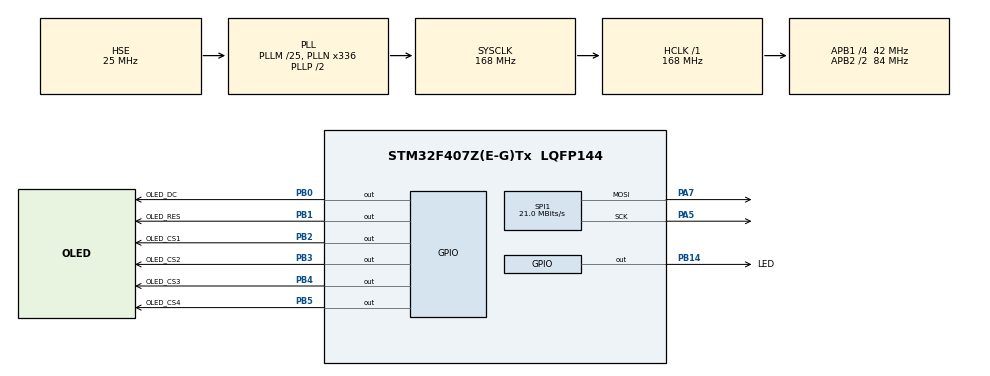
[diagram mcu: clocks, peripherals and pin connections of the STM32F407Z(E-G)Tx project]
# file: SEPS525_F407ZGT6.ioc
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Mcu.Family=STM32F4
Mcu.Name=STM32F407Z(E-G)Tx
Mcu.Package=LQFP144
NVIC.PriorityGroup=NVIC_PRIORITYGROUP_4
PA13.Mode=Serial_Wire
PA13.Signal=SYS_JTMS-SWDIO
PA14.Mode=Serial_Wire
PA14.Signal=SYS_JTCK-SWCLK
PA5.Mode=TX_Only_Simplex_Unidirect_Master
PA5.Signal=SPI1_SCK
PA7.Mode=TX_Only_Simplex_Unidirect_Master
PA7.Signal=SPI1_MOSI
PB0.GPIO_Label=OLED_DC
PB0.Signal=GPIO_Output
PB1.GPIO_Label=OLED_RES
PB1.Signal=GPIO_Output
PB14.GPIO_Label=LED
PB14.Signal=GPIO_Output
PB2.GPIO_Label=OLED_CS1
PB2.Signal=GPIO_Output
PB3.GPIO_Label=OLED_CS2
PB3.Signal=GPIO_Output
PB4.GPIO_Label=OLED_CS3
PB4.Signal=GPIO_Output
PB5.GPIO_Label=OLED_CS4
PB5.Signal=GPIO_Output
PH0-OSC_IN.Mode=HSE-External-Oscillator
PH0-OSC_IN.Signal=RCC_OSC_IN
PH1-OSC_OUT.Mode=HSE-External-Oscillator
PH1-OSC_OUT.Signal=RCC_OSC_OUT
ProjectManager.HeapSize=0x200
ProjectManager.StackSize=0x400
ProjectManager.TargetToolchain=MDK-ARM V5.32
RCC.48MHZClocksFreq_Value=84000000
RCC.AHBFreq_Value=168000000
RCC.APB1CLKDivider=RCC_HCLK_DIV4
RCC.APB1Freq_Value=42000000
RCC.APB1TimFreq_Value=84000000
RCC.APB2CLKDivider=RCC_HCLK_DIV2
RCC.APB2Freq_Value=84000000
RCC.APB2TimFreq_Value=168000000
RCC.CortexFreq_Value=168000000
RCC.HCLKFreq_Value=168000000
RCC.HSE_VALUE=25000000
RCC.HSI_VALUE=16000000
RCC.LSE_VALUE=32768
RCC.PLLM=25
RCC.PLLN=336
RCC.PLLSourceVirtual=RCC_PLLSOURCE_HSE
RCC.SYSCLKFreq_VALUE=168000000
RCC.SYSCLKSource=RCC_SYSCLKSOURCE_PLLCLK
RCC.VCOOutputFreq_Value=336000000
SPI1.BaudRatePrescaler=SPI_BAUDRATEPRESCALER_4
SPI1.CLKPhase=SPI_PHASE_2EDGE
SPI1.CLKPolarity=SPI_POLARITY_HIGH
SPI1.CalculateBaudRate=21.0 MBits/s
SPI1.DataSize=SPI_DATASIZE_8BIT
SPI1.Direction=SPI_DIRECTION_2LINES
SPI1.FirstBit=SPI_FIRSTBIT_MSB
SPI1.Mode=SPI_MODE_MASTER
SPI1.VirtualType=VM_MASTER
board=custom

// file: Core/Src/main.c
/* USER CODE BEGIN Header */
/**
  ******************************************************************************
  * @file           : main.c
  * @brief          : Main program body
  ******************************************************************************
  * @attention
  *
  * Copyright (c) 2024 STMicroelectronics.
  * All rights reserved.
  *
  * This software is licensed under terms that can be found in the LICENSE file
  * in the root directory of this software component.
  * If no LICENSE file comes with this software, it is provided AS-IS.
  *
  ******************************************************************************
  */
/* USER CODE END Header */
#include "main.h"
#include "spi.h"
#include "gpio.h"

/* USER CODE BEGIN PTD */
// extern unsigned char gImage_RGB_TEST;
// extern unsigned char gImage_QQ_TEST;
extern unsigned char gImage_HuangFeng;
/* USER CODE END PTD */

/* USER CODE BEGIN PV */
uint16_t i =0;
/* USER CODE END PV */

void SystemClock_Config(void);

int main(void)
{

  /* MCU Configuration--------------------------------------------------------*/

  /* Reset of all peripherals, Initializes the Flash interface and the Systick. */
  HAL_Init();

  /* Configure the system clock */
  SystemClock_Config();

  /* Initialize all configured peripherals */
  MX_GPIO_Init();
  MX_SPI1_Init();
  /* USER CODE BEGIN 2 */
//
	HAL_GPIO_WritePin(LED_GPIO_Port,LED_Pin,GPIO_PIN_SET);

  WHICH_CS = 0;
  OLED_Init();//OLED初始化

//	HAL_Delay(100);
//  WHICH_CS = 4;
//  OLED_Fill(0,0,OLED_W,OLED_H,BLUE);

//	OLED_ScreenProtect();
  /* USER CODE END 2 */

  /* Infinite loop */
  while (1)
  {

    /* USER CODE BEGIN 3 */

	HAL_Delay(100);
  WHICH_CS = 1;
	OLED_Fill(0,0,OLED_W,OLED_H,WHITE);
	HAL_Delay(500);
	OLED_Fill(0,0,OLED_W,OLED_H,BLUE);

	HAL_Delay(100);
  WHICH_CS = 2;
  OLED_Fill(0,0,OLED_W,OLED_H,RED);
	HAL_Delay(500);
	OLED_Fill(0,0,OLED_W,OLED_H,BLUE);

	HAL_Delay(100);
  WHICH_CS = 3;
  OLED_Fill(0,0,OLED_W,OLED_H,GREEN);
	HAL_Delay(500);
	OLED_Fill(0,0,OLED_W,OLED_H,BLUE);

  HAL_Delay(100);
  WHICH_CS = 4;
  OLED_Fill(0,0,OLED_W,OLED_H,YELLOW);
	HAL_Delay(500);
	OLED_Fill(0,0,OLED_W,OLED_H,BLUE);

  }
  /* USER CODE END 3 */
}

void SystemClock_Config(void)
{
  RCC_OscInitTypeDef RCC_OscInitStruct = {0};
  RCC_ClkInitTypeDef RCC_ClkInitStruct = {0};

  /** Configure the main internal regulator output voltage
  */
  __HAL_RCC_PWR_CLK_ENABLE();
  __HAL_PWR_VOLTAGESCALING_CONFIG(PWR_REGULATOR_VOLTAGE_SCALE1);

  /** Initializes the RCC Oscillators according to the specified parameters
  * in the RCC_OscInitTypeDef structure.
  */
  RCC_OscInitStruct.OscillatorType = RCC_OSCILLATORTYPE_HSE;
  RCC_OscInitStruct.HSEState = RCC_HSE_ON;
  RCC_OscInitStruct.PLL.PLLState = RCC_PLL_ON;
  RCC_OscInitStruct.PLL.PLLSource = RCC_PLLSOURCE_HSE;
  RCC_OscInitStruct.PLL.PLLM = 25;
  RCC_OscInitStruct.PLL.PLLN = 336;
  RCC_OscInitStruct.PLL.PLLP = RCC_PLLP_DIV2;
  RCC_OscInitStruct.PLL.PLLQ = 4;
  if (HAL_RCC_OscConfig(&RCC_OscInitStruct) != HAL_OK)
  {
    Error_Handler();
  }

  /** Initializes the CPU, AHB and APB buses clocks
  */
  RCC_ClkInitStruct.ClockType = RCC_CLOCKTYPE_HCLK|RCC_CLOCKTYPE_SYSCLK
                              |RCC_CLOCKTYPE_PCLK1|RCC_CLOCKTYPE_PCLK2;
  RCC_ClkInitStruct.SYSCLKSource = RCC_SYSCLKSOURCE_PLLCLK;
  RCC_ClkInitStruct.AHBCLKDivider = RCC_SYSCLK_DIV1;
  RCC_ClkInitStruct.APB1CLKDivider = RCC_HCLK_DIV4;
  RCC_ClkInitStruct.APB2CLKDivider = RCC_HCLK_DIV2;

  if (HAL_RCC_ClockConfig(&RCC_ClkInitStruct, FLASH_LATENCY_5) != HAL_OK)
  {
    Error_Handler();
  }
}

void Error_Handler(void)
{
  __disable_irq();
  while (1)
  {
  }
}
